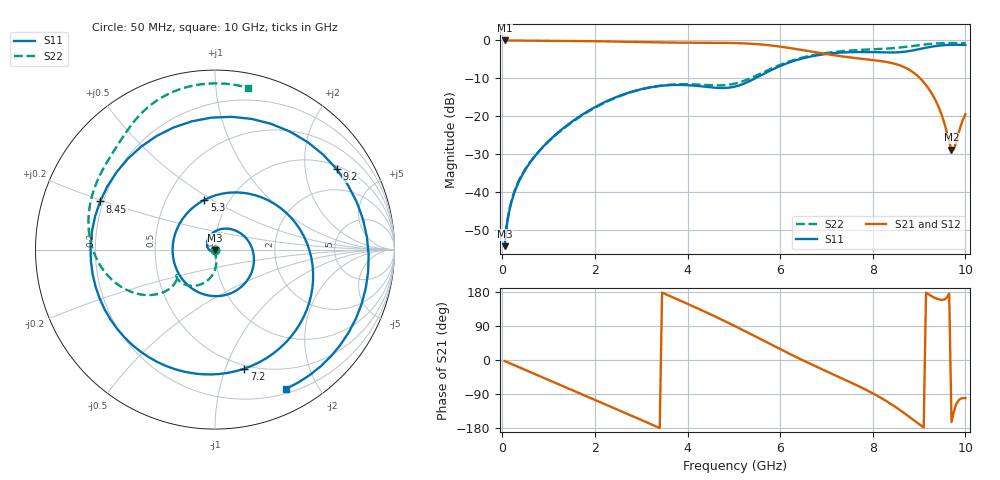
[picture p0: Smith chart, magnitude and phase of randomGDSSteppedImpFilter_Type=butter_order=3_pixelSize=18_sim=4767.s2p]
! freq	dB(S11)	phase(S11)	dB(S12)	phase(S12)
!  dB(S21)	phase(S21)	dB(S22)	phase(S22)
!S-par simulation data
#  GHz  S  DB  R 50
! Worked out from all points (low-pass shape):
!   200 points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, 50 MHz to 10 GHz, reference 50 ohm
!   highest |S21| = -0.01 dB at 50 MHz (marker M1); lowest = -28.7 dB at 9.7 GHz (marker M2)
!   |S21| within 3 dB of the highest: start of sweep to 6.71 GHz
!   lowest |S11| = -54.2 dB at 50 MHz (marker M3), VSWR 1.00, Z = 50 - j0.194 ohm
!   |S11| at or under -10 dB: start of sweep to 5.459 GHz
!   |S22| runs from -54.2 to -0.7 dB; largest |S21 - S12| = 0
!   S11 on the Smith chart (normalised r, x): 50 MHz: 1.00, -0.00; 5.3 GHz: 0.77, +0.46; 7.2 GHz: 0.47, -1.16; 8.45 GHz: 0.19, +0.19; 9.2 GHz: 1.11, +2.94; 10 GHz: 0.25, -1.60
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0.05  -54.16 -81.2  -0.01 -2.7  -0.01 -2.7  -54.16 -73.9
0.1  -48.45 -94.6  -0.01 -5.3  -0.01 -5.3  -48.15 -81.1
0.2  -42.43 -110.6  -0.02 -10.5  -0.02 -10.5  -42.08 -83.8
0.45  -35.00 -142.7  -0.03 -23.6  -0.03 -23.6  -34.76 -83.5
1.15  -24.82 140.5  -0.09 -60.3  -0.09 -60.3  -24.93 -83.1
1.75  -19.36 83.9  -0.16 -91.9  -0.16 -91.9  -19.53 -88.9
2.65  -14.07 9.1  -0.34 -139.6  -0.34 -139.6  -14.15 -108.6
3.4  -11.99 -49.8  -0.52 -179.5  -0.52 -179.5  -11.95 -128.5
4.15  -11.90 -114.3  -0.61 140.0  -0.61 140.0  -11.59 -144.1
5.05  -12.08 136.3  -0.70 87.8  -0.70 87.8  -11.28 -141.7
5.3  -10.95 102.0  -0.82 72.5  -0.82 72.5  -10.25 -139.4
6  -6.74 22.6  -1.63 28.7  -1.63 28.7  -6.42 -148.3
6.7  -4.14 -37.6  -2.99 -12.9  -2.99 -12.9  -3.90 -170.8
7.2  -3.31 -76.2  -3.96 -41.0  -3.96 -41.0  -2.99 171.9
7.8  -3.05 -126.2  -4.88 -75.3  -4.88 -75.3  -2.45 152.5
8.35  -3.18 171.6  -5.79 -112.7  -5.79 -112.7  -2.11 136.7
8.45  -3.17 157.2  -6.07 -120.6  -6.07 -120.6  -2.02 134.0
8.85  -2.67 91.5  -8.21 -155.7  -8.21 -155.7  -1.48 122.5
9.2  -1.80 33.5  -12.58 173.7  -12.58 173.7  -0.96 110.2
9.45  -1.35 -1.8  -18.37 159.2  -18.37 159.2  -0.74 100.3
9.7  -1.15 -31.8  -28.74 -164.0  -28.74 -164.0  -0.67 90.3
10  -1.20 -63.0  -19.42 -100.7  -19.42 -100.7  -0.72 78.3
